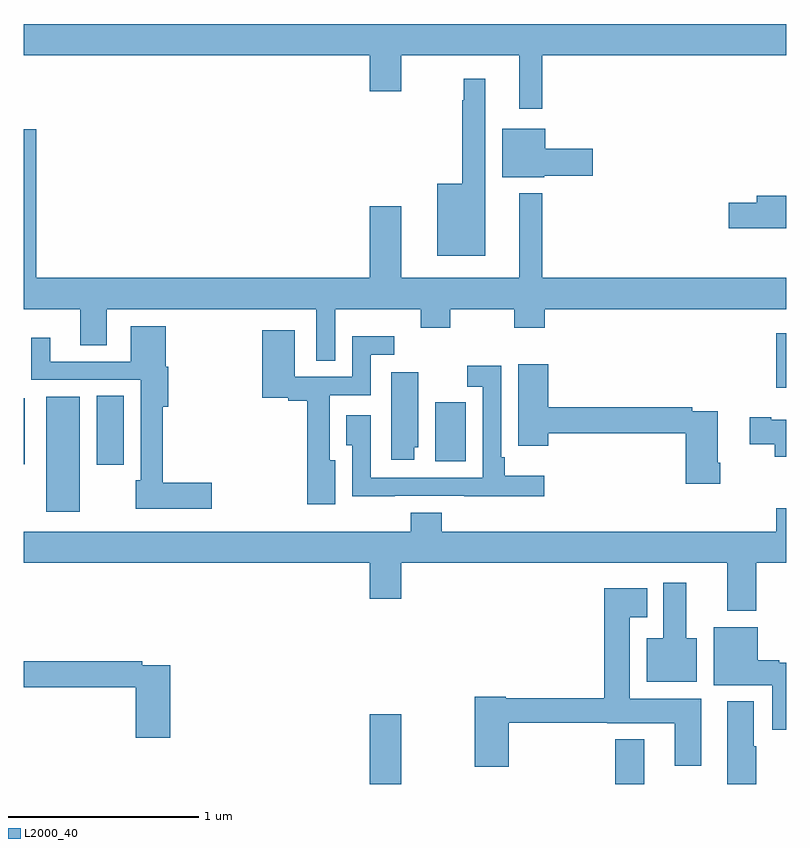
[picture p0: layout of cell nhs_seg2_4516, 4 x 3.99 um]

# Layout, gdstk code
import gdstk
lib = gdstk.Library(unit=1e-6, precision=1e-09)
def R(c, l, rs):  # rectangles x0, y0, x1, y1
    for r in rs: c.add(gdstk.rectangle(r[:2], r[2:], *l))
def P(c, l, *ps):  # polygons
    for p in ps: c.add(gdstk.Polygon(p, *l))
L2000_40 = (2000, 40)

nhs_seg2_4516 = lib.new_cell('nhs_seg2_4516')
R(nhs_seg2_4516, L2000_40, [(356.816,655.8,356.98,656.167), (358.103,655.8,358.255,656.035), (355.118,657.228,355.294,657.832), (355.382,657.474,355.525,657.836), (355,657.477,355.006,657.825), (357.158,657.493,357.319,657.804), (358.949,657.878,359,658.165)])
P(nhs_seg2_4516, L2000_40, [(357.721,659.624),(359,659.624),(359,659.788),(355,659.788),(355,659.624),(356.816,659.624),(356.816,659.436),(356.98,659.436),(356.98,659.624),(357.599,659.624),(357.599,659.343),(357.721,659.343)],
  [(357.421,659.5),(357.307,659.5),(357.307,659.387),(357.3,659.387),(357.3,658.951),(357.17,658.951),(357.17,658.571),(357.421,658.571)],
  [(357.732,658.991),(357.985,658.991),(357.985,659.133),(357.736,659.133),(357.736,659.239),(357.509,659.239),(357.509,658.985),(357.732,658.985)],
  [(356.635,658.292),(357.082,658.292),(357.082,658.193),(357.237,658.193),(357.237,658.292),(357.574,658.292),(357.574,658.193),(357.734,658.193),(357.734,658.292),(359,658.292),(359,658.456),(357.721,658.456),(357.721,658.9),(357.599,658.9),(357.599,658.456),(356.98,658.456),(356.98,658.831),(356.816,658.831),(356.816,658.456),(355.064,658.456),(355.064,659.236),(355,659.236),(355,658.292),(355.295,658.292),(355.295,658.102),(355.435,658.102),(355.435,658.292),(356.534,658.292),(356.534,658.021),(356.635,658.021)],
  [(359,658.886),(358.847,658.886),(358.847,658.85),(358.698,658.85),(358.698,658.715),(359,658.715)],
  [(355.987,657.38),(355.73,657.38),(355.73,657.779),(355.757,657.779),(355.757,657.99),(355.744,657.99),(355.744,658.201),(355.562,658.201),(355.562,658.017),(355.138,658.017),(355.138,658.141),(355.04,658.141),(355.04,657.921),(355.614,657.921),(355.614,657.393),(355.588,657.393),(355.588,657.245),(355.987,657.245)],
  [(356.635,657.499),(356.605,657.499),(356.605,657.84),(356.82,657.84),(356.82,658.053),(356.944,658.053),(356.944,658.15),(356.724,658.15),(356.724,657.936),(356.422,657.936),(356.422,658.18),(356.252,658.18),(356.252,657.827),(356.388,657.827),(356.388,657.812),(356.487,657.812),(356.487,657.267),(356.635,657.267)],
  [(358.655,657.487),(358.642,657.487),(358.642,657.756),(358.508,657.756),(358.508,657.776),(357.752,657.776),(357.752,658.003),(357.593,658.003),(357.593,657.576),(357.752,657.576),(357.752,657.64),(358.472,657.64),(358.472,657.375),(358.655,657.375)],
  [(356.945,657.312),(357.311,657.312),(357.311,657.311),(357.73,657.311),(357.73,657.418),(357.524,657.418),(357.524,657.514),(357.504,657.514),(357.504,657.994),(357.327,657.994),(357.327,657.885),(357.408,657.885),(357.408,657.408),(356.82,657.408),(356.82,657.736),(356.693,657.736),(356.693,657.577),(356.724,657.577),(356.724,657.311),(356.945,657.311)],
  [(357.049,657.567),(357.07,657.567),(357.07,657.961),(356.927,657.961),(356.927,657.501),(357.049,657.501)],
  [(359,657.712),(358.921,657.712),(358.921,657.725),(358.809,657.725),(358.809,657.583),(358.939,657.583),(358.939,657.518),(359,657.518)],
  [(358.844,656.96),(359,656.96),(359,657.248),(358.949,657.248),(358.949,657.124),(357.194,657.124),(357.194,657.223),(357.029,657.223),(357.029,657.124),(355,657.124),(355,656.96),(356.816,656.96),(356.816,656.772),(356.98,656.772),(356.98,656.96),(358.691,656.96),(358.691,656.708),(358.844,656.708)],
  [(358.531,656.566),(358.477,656.566),(358.477,656.857),(358.355,656.857),(358.355,656.566),(358.268,656.566),(358.268,656.336),(358.531,656.336)],
  [(357.545,656.121),(358.062,656.121),(358.062,656.12),(358.415,656.12),(358.415,655.896),(358.555,655.896),(358.555,656.248),(358.18,656.248),(358.18,656.675),(358.27,656.675),(358.27,656.827),(358.046,656.827),(358.046,656.249),(357.528,656.249),(357.528,656.257),(357.367,656.257),(357.367,655.89),(357.545,655.89)],
  [(359,656.437),(358.965,656.437),(358.965,656.45),(358.852,656.45),(358.852,656.623),(358.619,656.623),(358.619,656.318),(358.928,656.318),(358.928,656.085),(359,656.085)],
  [(355.769,656.424),(355.622,656.424),(355.622,656.444),(355,656.444),(355,656.308),(355.586,656.308),(355.586,656.043),(355.769,656.043)],
  [(358.844,655.997),(358.831,655.997),(358.831,656.233),(358.691,656.233),(358.691,655.8),(358.844,655.8)])

lib.write_gds('nhs_seg2_4516.gds')
